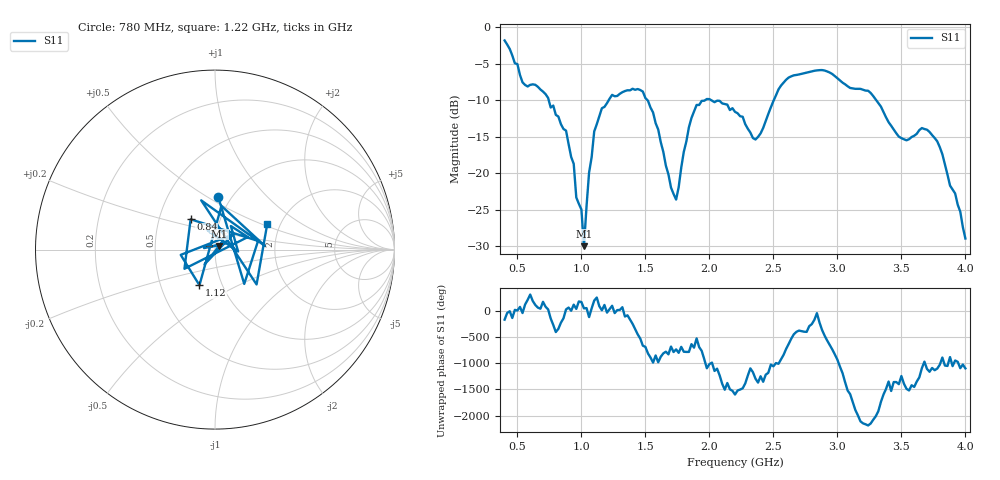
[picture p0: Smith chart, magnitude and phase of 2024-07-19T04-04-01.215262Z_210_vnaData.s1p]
!Created with skrf (http://scikit-rf.org).
# Hz S RI R 50.0
!freq ReS11 ImS11
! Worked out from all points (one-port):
!   181 points, 400 MHz to 4 GHz, reference 50 ohm
!   lowest |S11| = -30.0 dB at 1.02 GHz (marker M1), VSWR 1.07, Z = 52.4 + j2.16 ohm
!   |S11| at or under -10 dB: 744.9 MHz to 1.213 GHz (468.1 MHz wide, 47.8 % of centre); 2.016 GHz to 2.503 GHz (487.1 MHz wide, 21.6 % of centre); 3.304 GHz to end of sweep (the widest 3 of 4)
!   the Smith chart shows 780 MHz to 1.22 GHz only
!   S11 on the Smith chart (normalised r, x): 780 MHz: 0.87, +0.55; 840 MHz: 0.72, +0.26; 1.12 GHz: 0.78, -0.33; 1.22 GHz: 1.71, +0.54
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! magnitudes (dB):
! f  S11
! 400 MHz  -1.8
! 540 MHz  -7.5
! 780 MHz  -10.7
! 840 MHz  -13.3
! 860 MHz  -13.9
! 940 MHz  -18.7
! 960 MHz  -23.3
! 1 GHz  -25.0
! 1.02 GHz  -30.0
! 1.06 GHz  -19.9
! 1.12 GHz  -13.3
! 1.22 GHz  -9.8
! 1.3 GHz  -9.1
! 1.48 GHz  -8.8
! 1.6 GHz  -14.0
! 1.7 GHz  -22.0
! 1.74 GHz  -23.6
! 1.76 GHz  -21.9
! 1.84 GHz  -13.7
! 1.9 GHz  -10.6
! 2.2 GHz  -11.6
! 2.36 GHz  -15.4
! 2.66 GHz  -6.6
! 3.1 GHz  -8.3
! 3.24 GHz  -8.7
! 3.56 GHz  -15.3
! 3.78 GHz  -15.6
! 4 GHz  -29.0
